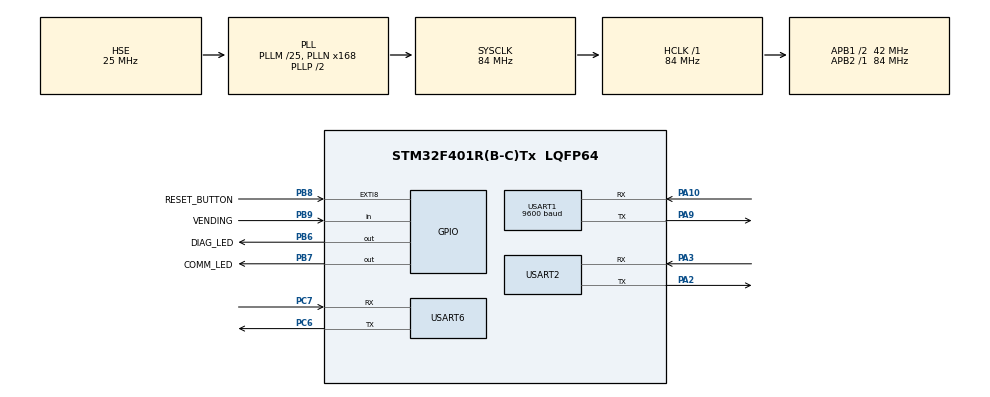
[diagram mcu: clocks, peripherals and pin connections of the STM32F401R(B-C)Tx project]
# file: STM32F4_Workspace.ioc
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FREERTOS.Tasks01=defaultTask,24,128,StartDefaultTask,Default,NULL,Dynamic,NULL,NULL
FREERTOS.configUSE_NEWLIB_REENTRANT=1
Mcu.Family=STM32F4
Mcu.Name=STM32F401R(B-C)Tx
Mcu.Package=LQFP64
NVIC.EXTI9_5_IRQn=true\:5\:0\:false\:false\:true\:true\:true\:true\:true
NVIC.PriorityGroup=NVIC_PRIORITYGROUP_4
NVIC.TIM4_IRQn=true\:15\:0\:false\:false\:true\:false\:false\:true\:true
NVIC.TimeBase=TIM4_IRQn
NVIC.TimeBaseIP=TIM4
NVIC.USART1_IRQn=true\:5\:0\:false\:false\:true\:true\:true\:true\:true
NVIC.USART2_IRQn=true\:5\:0\:false\:false\:true\:true\:true\:true\:true
PA10.GPIO_PuPd=GPIO_PULLUP
PA10.Mode=Asynchronous
PA10.Signal=USART1_RX
PA13.Mode=JTAG_4_pins
PA13.Signal=SYS_JTMS-SWDIO
PA14.Mode=JTAG_4_pins
PA14.Signal=SYS_JTCK-SWCLK
PA15.Mode=JTAG_4_pins
PA15.Signal=SYS_JTDI
PA2.Mode=Asynchronous
PA2.Signal=USART2_TX
PA3.Mode=Asynchronous
PA3.Signal=USART2_RX
PA9.Mode=Asynchronous
PA9.Signal=USART1_TX
PB3.Mode=JTAG_4_pins
PB3.Signal=SYS_JTDO-SWO
PB6.GPIO_Label=DIAG_LED
PB6.Signal=GPIO_Output
PB7.GPIO_Label=COMM_LED
PB7.Signal=GPIO_Output
PB8.GPIO_Label=RESET_BUTTON
PB8.GPIO_ModeDefaultEXTI=GPIO_MODE_IT_FALLING
PB8.GPIO_PuPd=GPIO_PULLUP
PB8.Signal=GPXTI8
PB9.GPIO_Label=VENDING
PB9.GPIO_PuPd=GPIO_PULLUP
PB9.Signal=GPIO_Input
PC6.Mode=Asynchronous
PC6.Signal=USART6_TX
PC7.Mode=Asynchronous
PC7.Signal=USART6_RX
PH0\ -\ OSC_IN.Mode=HSE-External-Oscillator
PH0\ -\ OSC_IN.Signal=RCC_OSC_IN
PH1\ -\ OSC_OUT.Mode=HSE-External-Oscillator
PH1\ -\ OSC_OUT.Signal=RCC_OSC_OUT
ProjectManager.HeapSize=0x200
ProjectManager.StackSize=0x400
ProjectManager.TargetToolchain=STM32CubeIDE
RCC.48MHZClocksFreq_Value=42000000
RCC.AHBFreq_Value=84000000
RCC.APB1CLKDivider=RCC_HCLK_DIV2
RCC.APB1Freq_Value=42000000
RCC.APB1TimFreq_Value=84000000
RCC.APB2Freq_Value=84000000
RCC.APB2TimFreq_Value=84000000
RCC.CortexFreq_Value=84000000
RCC.HCLKFreq_Value=84000000
RCC.HSE_VALUE=25000000
RCC.HSI_VALUE=16000000
RCC.LSE_VALUE=32768
RCC.PLLM=25
RCC.PLLN=168
RCC.PLLSourceVirtual=RCC_PLLSOURCE_HSE
RCC.SYSCLKFreq_VALUE=84000000
RCC.SYSCLKSource=RCC_SYSCLKSOURCE_PLLCLK
RCC.VCOOutputFreq_Value=168000000
USART1.BaudRate=9600
USART1.VirtualMode=VM_ASYNC
USART1.WordLength=WORDLENGTH_9B
USART2.VirtualMode=VM_ASYNC
USART6.VirtualMode=VM_ASYNC
VP_FREERTOS_VS_CMSIS_V2.Mode=CMSIS_V2
VP_SYS_VS_tim4.Mode=TIM4
board=custom

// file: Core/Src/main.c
/* USER CODE BEGIN Header */
/**
  ******************************************************************************
  * @file           : main.c
  * @brief          : Main program body
  ******************************************************************************
  * @attention
  *
  * Copyright (c) 2025 STMicroelectronics.
  * All rights reserved.
  *
  * This software is licensed under terms that can be found in the LICENSE file
  * in the root directory of this software component.
  * If no LICENSE file comes with this software, it is provided AS-IS.
  *
  ******************************************************************************
  */
/* USER CODE END Header */
#include "main.h"
#include "cmsis_os.h"

/* USER CODE BEGIN Includes */
#include "FreeRTOS.h"
#include "MDB_Handler.h"
#include "system_tasks.h"
#include "ESP8266_Handler.h"
#include "SYS_Logger.h"
#include "Flash_Driver.h"
#include "Periodic_Task_Manager.h"
#include "LED_Controller.h"
/* USER CODE END Includes */

UART_HandleTypeDef huart1;
UART_HandleTypeDef huart2;
UART_HandleTypeDef huart6;

/* Definitions for defaultTask */
osThreadId_t defaultTaskHandle;
const osThreadAttr_t defaultTask_attributes = {
  .name = "defaultTask",
  .stack_size = 128 * 4,
  .priority = (osPriority_t) osPriorityNormal,
};

void SystemClock_Config(void);
static void MX_GPIO_Init(void);
static void MX_USART1_UART_Init(void);
static void MX_USART2_UART_Init(void);
static void MX_USART6_UART_Init(void);
void StartDefaultTask(void *argument);

/* USER CODE BEGIN 0 */

void HAL_UART_ErrorCallback(UART_HandleTypeDef *huart) {

  __HAL_UART_DISABLE_IT(huart, UART_IT_TC);
  __HAL_UART_DISABLE_IT(huart, UART_IT_TXE);

  /* Check if a receive process is ongoing or not */
  if(huart->gState == HAL_UART_STATE_BUSY_TX_RX)
  {
    huart->gState = HAL_UART_STATE_BUSY_RX;
  }
  else
  {
    huart->gState = HAL_UART_STATE_READY;
  }
   HAL_UART_RxCpltCallback(huart);
}

/**
 * @brief UART receive complete callback for MDB communication
 * @note This function is called by the HAL library when a byte is received
 */
void HAL_UART_RxCpltCallback(UART_HandleTypeDef *huart)
{
    if (mdb_config.mdb_uart != NULL && huart->Instance == mdb_config.mdb_uart->Instance)
    {
        MDB_UART_RxCallback(huart);
    }
    else if (esp_config.esp_uart != NULL && huart->Instance == esp_config.esp_uart->Instance) {
        ESP_UART_RxCallback(huart);
    }
}

void HAL_GPIO_EXTI_Callback(uint16_t GPIO_Pin)
{
    if (GPIO_Pin == RESET_BUTTON_Pin) {
        PERIODIC_TASK_ButtonInterrupt();
    }
}
/* USER CODE END 0 */

int main(void)
{

  /* MCU Configuration--------------------------------------------------------*/

  /* Reset of all peripherals, Initializes the Flash interface and the Systick. */
  HAL_Init();

  /* Configure the system clock */
  SystemClock_Config();

  /* Initialize all configured peripherals */
  MX_GPIO_Init();
  MX_USART1_UART_Init();
  MX_USART2_UART_Init();
  MX_USART6_UART_Init();
  /* USER CODE BEGIN 2 */
  FLASH_Init();       /* Initialize Flash driver */
  LED_CONTROLLER_Init(); /* Initialize LED controller */
  SYS_InitLogger();   /* Initialize system logger */
  ESP_Init();         /* Initialize ESP8266 module */
  MDB_BusInit();      /* Initialize MDB bus */
  /* USER CODE END 2 */

  /* Init scheduler */
  osKernelInitialize();

  /* Create the thread(s) */
  /* creation of defaultTask */
  defaultTaskHandle = osThreadNew(StartDefaultTask, NULL, &defaultTask_attributes);

  /* USER CODE BEGIN RTOS_THREADS */
  /* add threads, ... */
  System_TaskCreate();                 /* create before scheduler        */
  /* USER CODE END RTOS_THREADS */

  /* Start scheduler */
  osKernelStart();

  /* We should never get here as control is now taken by the scheduler */

  /* Infinite loop */
  while (1)
  {

  }
}

void SystemClock_Config(void)
{
  RCC_OscInitTypeDef RCC_OscInitStruct = {0};
  RCC_ClkInitTypeDef RCC_ClkInitStruct = {0};

  /** Configure the main internal regulator output voltage
  */
  __HAL_RCC_PWR_CLK_ENABLE();
  __HAL_PWR_VOLTAGESCALING_CONFIG(PWR_REGULATOR_VOLTAGE_SCALE2);

  /** Initializes the RCC Oscillators according to the specified parameters
  * in the RCC_OscInitTypeDef structure.
  */
  RCC_OscInitStruct.OscillatorType = RCC_OSCILLATORTYPE_HSE;
  RCC_OscInitStruct.HSEState = RCC_HSE_ON;
  RCC_OscInitStruct.PLL.PLLState = RCC_PLL_ON;
  RCC_OscInitStruct.PLL.PLLSource = RCC_PLLSOURCE_HSE;
  RCC_OscInitStruct.PLL.PLLM = 25;
  RCC_OscInitStruct.PLL.PLLN = 168;
  RCC_OscInitStruct.PLL.PLLP = RCC_PLLP_DIV2;
  RCC_OscInitStruct.PLL.PLLQ = 4;
  if (HAL_RCC_OscConfig(&RCC_OscInitStruct) != HAL_OK)
  {
    Error_Handler();
  }

  /** Initializes the CPU, AHB and APB buses clocks
  */
  RCC_ClkInitStruct.ClockType = RCC_CLOCKTYPE_HCLK|RCC_CLOCKTYPE_SYSCLK
                              |RCC_CLOCKTYPE_PCLK1|RCC_CLOCKTYPE_PCLK2;
  RCC_ClkInitStruct.SYSCLKSource = RCC_SYSCLKSOURCE_PLLCLK;
  RCC_ClkInitStruct.AHBCLKDivider = RCC_SYSCLK_DIV1;
  RCC_ClkInitStruct.APB1CLKDivider = RCC_HCLK_DIV2;
  RCC_ClkInitStruct.APB2CLKDivider = RCC_HCLK_DIV1;

  if (HAL_RCC_ClockConfig(&RCC_ClkInitStruct, FLASH_LATENCY_2) != HAL_OK)
  {
    Error_Handler();
  }
}

static void MX_USART1_UART_Init(void)
{

  huart1.Instance = USART1;
  huart1.Init.BaudRate = 9600;
  huart1.Init.WordLength = UART_WORDLENGTH_9B;
  huart1.Init.StopBits = UART_STOPBITS_1;
  huart1.Init.Parity = UART_PARITY_NONE;
  huart1.Init.Mode = UART_MODE_TX_RX;
  huart1.Init.HwFlowCtl = UART_HWCONTROL_NONE;
  huart1.Init.OverSampling = UART_OVERSAMPLING_16;
  if (HAL_UART_Init(&huart1) != HAL_OK)
  {
    Error_Handler();
  }

}

static void MX_USART2_UART_Init(void)
{

  huart2.Instance = USART2;
  huart2.Init.BaudRate = 115200;
  huart2.Init.WordLength = UART_WORDLENGTH_8B;
  huart2.Init.StopBits = UART_STOPBITS_1;
  huart2.Init.Parity = UART_PARITY_NONE;
  huart2.Init.Mode = UART_MODE_TX_RX;
  huart2.Init.HwFlowCtl = UART_HWCONTROL_NONE;
  huart2.Init.OverSampling = UART_OVERSAMPLING_16;
  if (HAL_UART_Init(&huart2) != HAL_OK)
  {
    Error_Handler();
  }

}

static void MX_USART6_UART_Init(void)
{

  huart6.Instance = USART6;
  huart6.Init.BaudRate = 115200;
  huart6.Init.WordLength = UART_WORDLENGTH_8B;
  huart6.Init.StopBits = UART_STOPBITS_1;
  huart6.Init.Parity = UART_PARITY_NONE;
  huart6.Init.Mode = UART_MODE_TX_RX;
  huart6.Init.HwFlowCtl = UART_HWCONTROL_NONE;
  huart6.Init.OverSampling = UART_OVERSAMPLING_16;
  if (HAL_UART_Init(&huart6) != HAL_OK)
  {
    Error_Handler();
  }

}

static void MX_GPIO_Init(void)
{
  GPIO_InitTypeDef GPIO_InitStruct = {0};

  /* GPIO Ports Clock Enable */
  __HAL_RCC_GPIOH_CLK_ENABLE();
  __HAL_RCC_GPIOA_CLK_ENABLE();
  __HAL_RCC_GPIOC_CLK_ENABLE();
  __HAL_RCC_GPIOB_CLK_ENABLE();

  /*Configure GPIO pin Output Level */
  HAL_GPIO_WritePin(GPIOB, DIAG_LED_Pin|COMM_LED_Pin, GPIO_PIN_RESET);

  /*Configure GPIO pins : DIAG_LED_Pin COMM_LED_Pin */
  GPIO_InitStruct.Pin = DIAG_LED_Pin|COMM_LED_Pin;
  GPIO_InitStruct.Mode = GPIO_MODE_OUTPUT_PP;
  GPIO_InitStruct.Pull = GPIO_NOPULL;
  GPIO_InitStruct.Speed = GPIO_SPEED_FREQ_LOW;
  HAL_GPIO_Init(GPIOB, &GPIO_InitStruct);

  /*Configure GPIO pin : RESET_BUTTON_Pin */
  GPIO_InitStruct.Pin = RESET_BUTTON_Pin;
  GPIO_InitStruct.Mode = GPIO_MODE_IT_FALLING;
  GPIO_InitStruct.Pull = GPIO_PULLUP;
  HAL_GPIO_Init(RESET_BUTTON_GPIO_Port, &GPIO_InitStruct);

  /*Configure GPIO pin : VENDING_Pin */
  GPIO_InitStruct.Pin = VENDING_Pin;
  GPIO_InitStruct.Mode = GPIO_MODE_INPUT;
  GPIO_InitStruct.Pull = GPIO_PULLUP;
  HAL_GPIO_Init(VENDING_GPIO_Port, &GPIO_InitStruct);

  /* EXTI interrupt init*/
  HAL_NVIC_SetPriority(EXTI9_5_IRQn, 5, 0);
  HAL_NVIC_EnableIRQ(EXTI9_5_IRQn);

}

void StartDefaultTask(void *argument)
{
  for(;;)
  {
    osDelay(1);
  }
}

void HAL_TIM_PeriodElapsedCallback(TIM_HandleTypeDef *htim)
{
  if (htim->Instance == TIM4)
  {
    HAL_IncTick();
  }
}

void Error_Handler(void)
{
  __disable_irq();
  while (1)
  {
  }
}
